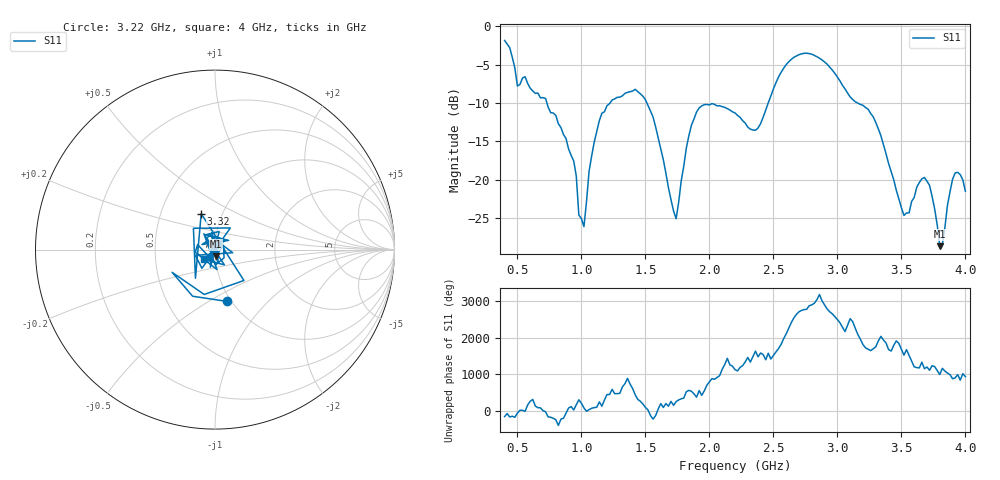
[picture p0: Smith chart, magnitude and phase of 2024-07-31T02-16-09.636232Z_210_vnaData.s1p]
!Created with skrf (http://scikit-rf.org).
# Hz S RI R 50.0
!freq ReS11 ImS11
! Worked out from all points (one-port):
!   181 points, 400 MHz to 4 GHz, reference 50 ohm
!   lowest |S11| = -28.7 dB at 3.8 GHz (marker M1), VSWR 1.08, Z = 50.4 - j3.68 ohm
!   |S11| at or under -10 dB: 730.7 MHz to 1.223 GHz (492.5 MHz wide, 50.4 % of centre); 1.512 GHz to 2.459 GHz (947.4 MHz wide, 47.7 % of centre); 3.159 GHz to end of sweep
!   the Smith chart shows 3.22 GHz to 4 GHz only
!   S11 on the Smith chart (normalised r, x): 3.22 GHz: 0.95, -0.60; 3.32 GHz: 0.80, +0.33; 4 GHz: 0.87, -0.10
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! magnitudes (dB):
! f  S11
! 400 MHz  -1.8
! 500 MHz  -7.8
! 560 MHz  -6.6
! 860 MHz  -14.1
! 940 MHz  -17.6
! 980 MHz  -24.6
! 1.02 GHz  -26.1
! 1.06 GHz  -18.9
! 1.14 GHz  -12.3
! 1.3 GHz  -9.2
! 1.5 GHz  -9.6
! 1.72 GHz  -24.1
! 1.76 GHz  -22.9
! 1.82 GHz  -15.8
! 1.9 GHz  -11.2
! 2.2 GHz  -11.3
! 2.38 GHz  -13.3
! 2.66 GHz  -4.0
! 2.88 GHz  -4.4
! 3.1 GHz  -9.2
! 3.22 GHz  -10.6
! 3.32 GHz  -13.4
! 3.52 GHz  -24.7
! 3.56 GHz  -24.3
! 3.68 GHz  -19.7
! 3.8 GHz  -28.7
! 3.92 GHz  -19.1
! 4 GHz  -21.5
